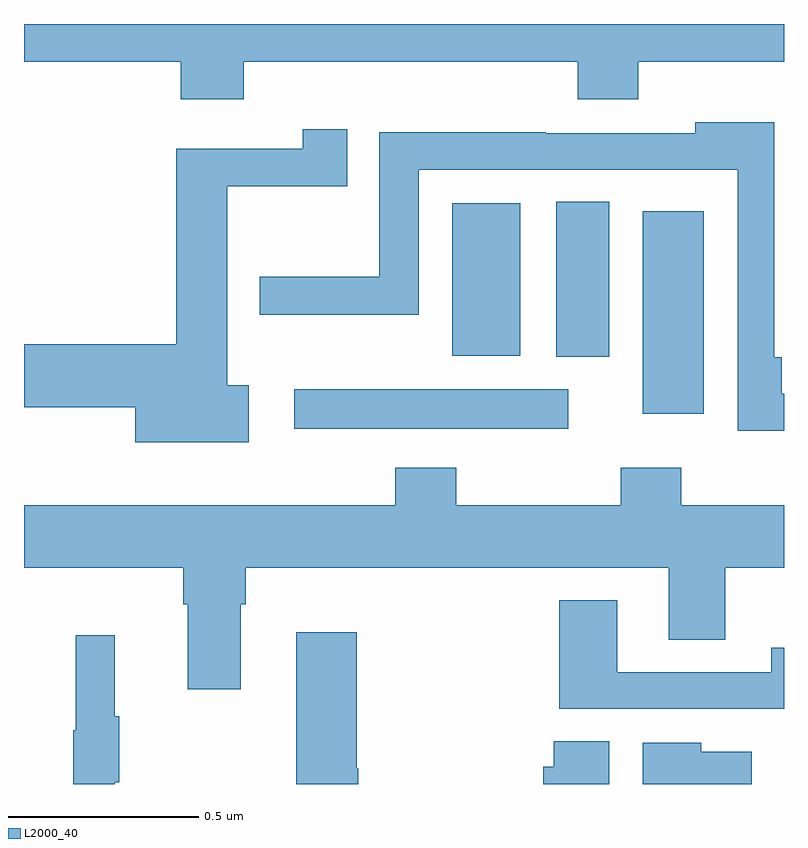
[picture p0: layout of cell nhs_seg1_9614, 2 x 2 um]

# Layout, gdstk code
import gdstk
lib = gdstk.Library(unit=1e-6, precision=1e-09)
def R(c, l, rs):  # rectangles x0, y0, x1, y1
    for r in rs: c.add(gdstk.rectangle(r[:2], r[2:], *l))
def P(c, l, *ps):  # polygons
    for p in ps: c.add(gdstk.Polygon(p, *l))
L2000_40 = (2000, 40)

nhs_seg1_9614 = lib.new_cell('nhs_seg1_9614')
R(nhs_seg1_9614, L2000_40, [(231.711,516.134,232.432,516.238), (232.628,516.174,232.789,516.706), (232.4,516.323,232.54,516.731), (232.127,516.326,232.306,516.727)])
P(nhs_seg1_9614, L2000_40, [(231.578,517.1),(232.457,517.1),(232.457,517.001),(232.617,517.001),(232.617,517.1),(233,517.1),(233,517.199),(231,517.199),(231,517.1),(231.413,517.1),(231.413,517.001),(231.578,517.001)],
  [(233,516.226),(232.994,516.226),(232.994,516.322),(232.974,516.322),(232.974,516.94),(232.767,516.94),(232.767,516.912),(232.373,516.912),(232.373,516.914),(231.935,516.914),(231.935,516.534),(231.62,516.534),(231.62,516.434),(232.039,516.434),(232.039,516.816),(232.878,516.816),(232.878,516.128),(233,516.128)],
  [(231.592,516.248),(231.535,516.248),(231.535,516.772),(231.85,516.772),(231.85,516.922),(231.733,516.922),(231.733,516.871),(231.401,516.871),(231.401,516.356),(231,516.356),(231,516.191),(231.293,516.191),(231.293,516.098),(231.592,516.098)],
  [(231.571,515.672),(231.584,515.672),(231.584,515.768),(232.697,515.768),(232.697,515.578),(232.845,515.578),(232.845,515.768),(233,515.768),(233,515.932),(232.73,515.932),(232.73,516.031),(232.57,516.031),(232.57,515.932),(232.137,515.932),(232.137,516.031),(231.977,516.031),(231.977,515.932),(231,515.932),(231,515.768),(231.419,515.768),(231.419,515.672),(231.431,515.672),(231.431,515.448),(231.571,515.448)],
  [(233,515.557),(232.966,515.557),(232.966,515.493),(232.561,515.493),(232.561,515.683),(232.409,515.683),(232.409,515.397),(233,515.397)],
  [(231.88,515.241),(231.875,515.241),(231.875,515.599),(231.716,515.599),(231.716,515.199),(231.88,515.199)],
  [(231.239,515.203),(231.25,515.203),(231.25,515.377),(231.239,515.377),(231.239,515.59),(231.136,515.59),(231.136,515.34),(231.129,515.34),(231.129,515.199),(231.239,515.199)],
  [(232.54,515.312),(232.394,515.312),(232.394,515.245),(232.367,515.245),(232.367,515.199),(232.54,515.199)],
  [(232.915,515.284),(232.782,515.284),(232.782,515.308),(232.628,515.308),(232.628,515.199),(232.915,515.199)])

lib.write_gds('nhs_seg1_9614.gds')
